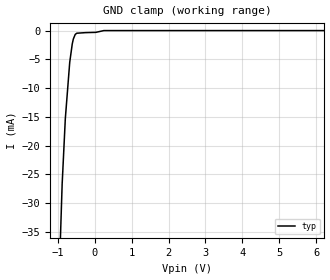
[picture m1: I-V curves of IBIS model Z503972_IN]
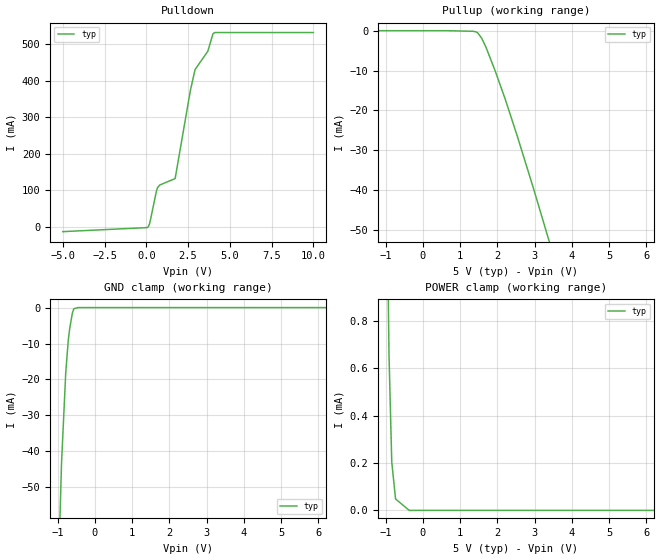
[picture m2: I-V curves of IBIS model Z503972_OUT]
| YOU ARE ONLY AUTHORIZED TO USE THIS SOFTWARE
| ACCORDING TO LICENSOR'S LICENSE RESTRICTIONS.
[IBIS Ver] 3.1
[File Name] mc74f157an.ibs
[File Rev] 2.0
[Source] Measured and created by ICX Technology
[Date] Friday 7/14/00 9:08:04 AM
[Copyright]
| (C) COPYRIGHT 1993-2000
| MENTOR GRAPHICS CORPORATION
| ICX STANDARD LIBRARY, ICX PROJECT MODELING,
| ICX CUSTOM MODELING, ICX VENDOR MODEL
| ALL RIGHTS RESERVED.
| THE FOLLOWING ARE TRADEMARKS OR SERVICE MARKS OF
| MENTOR GRAPHICS CORPORATION:ICX (R), ICX STANDARD
| LIBRARY(R), ICX PROJECT MODELING(R), ICX CUSTOM
| MODELING(R), qualityIBIS(TM), MODELVIEWER(TM),
| AND MODELEDITOR(TM)
| ALL COPIES OF SOFTWARE, INCLUDING BUT NOT LIMITED TO
| ANY MODIFICATIONS, ENHANCEMENTS OR DERIVATIVE WORKS,
| MUST CONTAIN ALL MENTOR GRAPHICS CORPORATION'S
| NOTICES AND LEGENDS, INCLUDING THOSE EMBEDDED IN
| SOFTWARE AND THOSE AFFIXED TO SOFTWARE MEDIUM
| AND CONTAINER, AS RECEIVED FROM MENTOR GRAPHICS
| CORPORATION.
|  ZAP Model Builder 2.7
[Component] MC74F157AN
[Manufacturer] OnSemiconductor
[Package]
| variable   typ   min   max
R_pkg  .212ohms NA NA
L_pkg  4.758nH NA NA
C_pkg  1.143pF NA NA
[Pin] signal_name  model_name  R_pin  L_pin C_pin
1 B_A Z503972_IN .224 7.258n 1.578p
2 A0 Z503972_IN .216 5.258n 1.288p
3 B0 Z503972_IN .208 3.758n .998p
4 Y0 Z503972_OUT .2 2.758n .708p
5 A1 Z503972_IN .2 2.758n .708p
6 B1 Z503972_IN .208 3.758n .998p
7 Y1 Z503972_OUT .216 5.258n 1.288p
8 GND GND .224 7.258n 1.578p
9 Y2 Z503972_OUT .224 7.258n 1.578p
10 B2 Z503972_IN .216 5.258n 1.288p
11 A2 Z503972_IN .208 3.758n .998p
12 Y3 Z503972_OUT .2 2.758n .708p
13 B3 Z503972_IN .2 2.758n .708p
14 A3 Z503972_IN .208 3.758n .998p
15 _G Z503972_IN .216 5.258n 1.288p
16 VCC POWER .224 7.258n 1.578p
| Models and submodels in the file (2): Z503972_IN (Input), Z503972_OUT (Output)
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| (C) COPYRIGHT 1993-2000
| MENTOR GRAPHICS CORPORATION
| ICX STANDARD LIBRARY, ICX PROJECT MODELING,
| ICX CUSTOM MODELING, ICX VENDOR MODEL
| ALL RIGHTS RESERVED.
| THE FOLLOWING ARE TRADEMARKS OR SERVICE MARKS OF
| MENTOR GRAPHICS CORPORATION:ICX (R), ICX STANDARD
| LIBRARY(R), ICX PROJECT MODELING(R), ICX CUSTOM
| MODELING(R), qualityIBIS(TM), MODELVIEWER(TM),
| AND MODELEDITOR(TM)
| ALL COPIES OF SOFTWARE, INCLUDING BUT NOT LIMITED TO
| ANY MODIFICATIONS, ENHANCEMENTS OR DERIVATIVE WORKS,
| MUST CONTAIN ALL MENTOR GRAPHICS CORPORATION'S
| NOTICES AND LEGENDS, INCLUDING THOSE EMBEDDED IN
| SOFTWARE AND THOSE AFFIXED TO SOFTWARE MEDIUM
| AND CONTAINER, AS RECEIVED FROM MENTOR GRAPHICS
| CORPORATION.
| Model Application Version 1.89 2/18/99.
[Model] Z503972_IN
Model_type Input
Vinl = 800.0mV
Vinh = 2.000V
C_comp 4.000pF NA NA
| variable typ   min   max
[Voltage Range] 5.000V NA NA
[GND Clamp Reference] 0.000V NA NA
[POWER Clamp Reference] 5.000V NA NA
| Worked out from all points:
|   GND clamp passes 1 mA (typ) near -0.55 V on its own axis
[GND Clamp]
-5V       -848.4mA   NA         NA
-878.8mV  -26.72mA   NA         NA
-793.1mV  -15.33mA   NA         NA
-673.8mV  -5.515mA   NA         NA
-605.4mV  -2.333mA   NA         NA
-576.2mV  -1.473mA   NA         NA
-525.2mV  -674.9uA   NA         NA
-483.1mV  -462.4uA   NA         NA
-241.5mV  -360.8uA   NA         NA
32.31mV   -315.6uA   NA         NA
248.9mV   -4.871uA   NA         NA
10V       -4.871uA   NA         NA
[POWER Clamp]
-5V       0A         NA         NA
10V       0A         NA         NA
| (C) COPYRIGHT 1993-2000
| MENTOR GRAPHICS CORPORATION
| ICX STANDARD LIBRARY, ICX PROJECT MODELING,
| ICX CUSTOM MODELING, ICX VENDOR MODEL
| ALL RIGHTS RESERVED.
| THE FOLLOWING ARE TRADEMARKS OR SERVICE MARKS OF
| MENTOR GRAPHICS CORPORATION:ICX (R), ICX STANDARD
| LIBRARY(R), ICX PROJECT MODELING(R), ICX CUSTOM
| MODELING(R), qualityIBIS(TM), MODELVIEWER(TM),
| AND MODELEDITOR(TM)
| ALL COPIES OF SOFTWARE, INCLUDING BUT NOT LIMITED TO
| ANY MODIFICATIONS, ENHANCEMENTS OR DERIVATIVE WORKS,
| MUST CONTAIN ALL MENTOR GRAPHICS CORPORATION'S
| NOTICES AND LEGENDS, INCLUDING THOSE EMBEDDED IN
| SOFTWARE AND THOSE AFFIXED TO SOFTWARE MEDIUM
| AND CONTAINER, AS RECEIVED FROM MENTOR GRAPHICS
| CORPORATION.
| Model Application Version 1.89 2/18/99.
[Model] Z503972_OUT
Model_type Output
Vref=0.000V
Rref=500.0ohms
Cref=50.00pF
Vmeas=1.500V
C_comp 8.000pF NA NA
| variable typ   min   max
[Voltage Range] 5.000V NA NA
[POWER Clamp Reference] 5.000V NA NA
[Pullup Reference] 5.000V NA NA
[Pulldown Reference] 0.000V NA NA
[GND Clamp Reference] 0.000V NA NA
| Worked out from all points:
|   slope of the pulldown table from 0 to 0.75 V, typ, clamps not added: 6.59 ohm
|   slope of the pullup table from 0 to 0.75 V, typ, clamps not added: 32 kohm
|   GND clamp passes 1 mA (typ) near -0.59 V on its own axis
|   POWER clamp passes 1 mA (typ) near -0.94 V on its own axis
[GND Clamp]
-5V       -2.498A    NA         NA
-1.103V   -129.9mA   NA         NA
-1.011V   -84.72mA   NA         NA
-898.4mV  -43.41mA   NA         NA
-785.4mV  -18.25mA   NA         NA
-717.7mV  -9.16mA    NA         NA
-677.9mV  -5.765mA   NA         NA
-605.5mV  -1.48mA    NA         NA
-566.4mV  -298.2uA   NA         NA
-453.1mV  0A         NA         NA
10V       0A         NA         NA
[Pulldown]
-5V       -12.99mA   NA         NA
130.8mV   1.259mA    NA         NA
247.2mV   19.31mA    NA         NA
601mV     97.19mA    NA         NA
672.2mV   107.6mA    NA         NA
801mV     114.6mA    NA         NA
1.724V    132.2mA    NA         NA
2.637V    373.4mA    NA         NA
2.916V    430.5mA    NA         NA
3.682V    480.8mA    NA         NA
3.989V    528.4mA    NA         NA
10V       531.9mA    NA         NA
[Pullup]
-5V       7.225uA    NA         NA
640mV     7.225uA    NA         NA
1.359V    -146uA     NA         NA
1.436V    -323.6uA   NA         NA
1.474V    -540.9uA   NA         NA
1.582V    -1.908mA   NA         NA
1.699V    -4.217mA   NA         NA
1.953V    -10.35mA   NA         NA
2.207V    -17.04mA   NA         NA
2.53V     -26.29mA   NA         NA
2.957V    -39.18mA   NA         NA
10V       -260.7mA   NA         NA
[POWER Clamp]
-5V       321.6mA    NA         NA
-1.514V   15.81mA    NA         NA
-1.397V   9.467mA    NA         NA
-1.352V   8.189mA    NA         NA
-1.17V    4.613mA    NA         NA
-1.016V   2.017mA    NA         NA
-908mV    658.8uA    NA         NA
-834mV    204.9uA    NA         NA
-732mV    48.29uA    NA         NA
-366mV    0A         NA         NA
10V       0A         NA         NA
[Ramp]
| variable typ min max
dV/dt_r 1.865/1.838n NA NA
dV/dt_f 1.865/745.1p NA NA
R_load = 500.0Ohms
